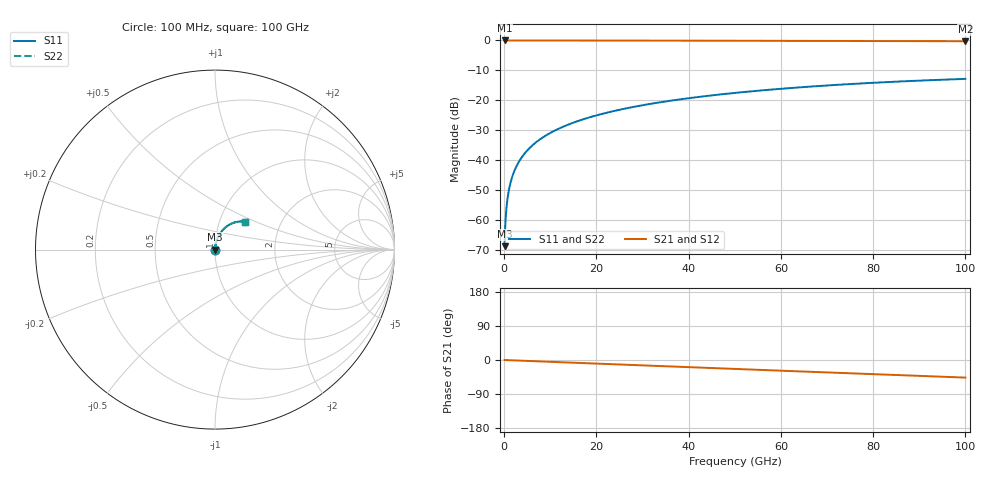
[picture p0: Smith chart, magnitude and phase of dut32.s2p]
! Touchstone file exported from HFSS 2026.1.0
!  File:  C:/ffzhzh/LocalFiles/Ansys_Project_Files/temp_train_TSV_32_1783504624_41296.aedt
!  Generated:  05:58:21 PM Jul  8, 2026
!  Design:  TSV
!  Project:  temp_train_TSV_32_1783504624_41296
! Variables:
!  h_bsmrdl = 2um
!  h_ox = 20um
!  h_rdl = 5um
!  h_sub = 86.57um
!  h_tmrdl = 5um
!  h_tsv = 86.57um
!  h_via = 3um
!  l_bsmrdl = 300um
!  l_sub = 417.22um
!  l_tmrdl = 200um
!  m_sub = 200um
!  pitch = 54.92um
!  r_tsv = 8.61um
!  s_tmrdl = 10um
!  w_bsmrdl = 18um
!  w_sub = 500um
!  w_tmrdl = 12um
!  x_tsv_center1 = 206um
!  x_tsv_center2 = 524um
!  x_tsv_center3 = 736um
!  x_tsv_center4 = 1054um
!  x_tsv_center5 = 1266um
!  x_tsv_center6 = 1584um
# GHz S MA R 50.000000
! Terminal data exported
! Port[1] = TSV1_1_T1
! Port[2] = TSV1_1_T2
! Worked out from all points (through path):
!   1000 points, 100 MHz to 100 GHz, reference 50 ohm
!   highest |S21| = 0.00 dB at 100 MHz (marker M1); lowest = -0.3 dB at 100 GHz (marker M2)
!   group delay of S21, straight-line fit = 1.29 ps
!   lowest |S11| = -68.7 dB at 100 MHz (marker M3), VSWR 1.00, Z = 50 + j0.0325 ohm
!   |S11| at or under -10 dB: start of sweep to end of sweep
!   |S22| runs from -68.7 to -12.8 dB; largest |S21 - S12| = 4.7e-15
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0.1  0.0003655 62.8  0.9998 -0.1  0.9998 -0.1  0.0003655 62.8
! Gamma 0 0 0 0
! Port Impedance 50 0 50 0
0.3  0.0009839 78.4  0.9998 -0.1  0.9998 -0.1  0.0009839 78.4
0.7  0.0022 82.5  0.9997 -0.3  0.9997 -0.3  0.0022 82.5
0.8  0.002496 82.9  0.9997 -0.4  0.9997 -0.4  0.002496 82.9
1  0.003085 83.4  0.9997 -0.5  0.9997 -0.5  0.003085 83.4
1.3  0.003961 84.0  0.9996 -0.6  0.9996 -0.6  0.003961 84.0
1.7  0.005121 84.4  0.9996 -0.8  0.9996 -0.8  0.005121 84.4
2.3  0.006848 84.7  0.9995 -1.1  0.9995 -1.1  0.006848 84.7
3  0.008846 84.9  0.9994 -1.5  0.9994 -1.5  0.008846 84.9
3.8  0.01111 84.8  0.9993 -1.8  0.9993 -1.8  0.01111 84.8
4.8  0.01394 84.7  0.9992 -2.3  0.9992 -2.3  0.01394 84.7
6  0.01731 84.5  0.999 -2.9  0.999 -2.9  0.01731 84.5
8.8  0.02515 83.6  0.9987 -4.2  0.9987 -4.2  0.02515 83.6
12.4  0.03515 82.2  0.9982 -5.9  0.9982 -5.9  0.03515 82.2
16.8  0.04726 80.3  0.9975 -8.0  0.9975 -8.0  0.04726 80.3
24.2  0.06732 77.1  0.9961 -11.5  0.9961 -11.5  0.06732 77.1
33.4  0.09159 73.0  0.9939 -15.8  0.9939 -15.8  0.09159 73.0
41.2  0.1114 69.5  0.9917 -19.5  0.9917 -19.5  0.1114 69.5
50.1  0.1331 65.4  0.9888 -23.6  0.9888 -23.6  0.1331 65.4
66.7  0.1702 57.9  0.9828 -31.3  0.9828 -31.3  0.1702 57.9
83.4  0.2022 50.4  0.9764 -38.9  0.9764 -38.9  0.2022 50.4
100  0.228 43.0  0.9704 -46.4  0.9704 -46.4  0.228 43.0
